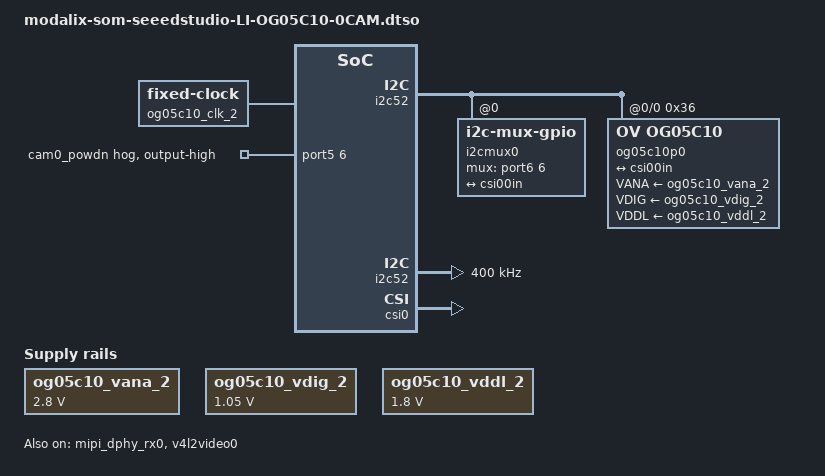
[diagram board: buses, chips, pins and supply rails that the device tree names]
// SPDX-License-Identifier: (GPL-2.0+ OR MIT)
/*
 * Copyright (c) 2026 SiMa ai
 */

/dts-v1/;
/plugin/;

&{/} {
    og05c10_vana_2: csi0_fixedregulator@0 {
        compatible = "regulator-fixed";
        regulator-name = "og05c10_vana_2";
        regulator-min-microvolt = <2800000>;
        regulator-max-microvolt = <2800000>;
        enable-active-high;
        startup-delay-us = <300000>;
        regulator-always-on;
    };

    og05c10_vdig_2: csi0_fixedregulator@1 {
        compatible = "regulator-fixed";
        regulator-name = "og05c10_vdig_2";
        regulator-min-microvolt = <1050000>;
        regulator-max-microvolt = <1050000>;
        regulator-always-on;
    };

    og05c10_vddl_2: csi0_fixedregulator@2 {
        compatible = "regulator-fixed";
        regulator-name = "og05c10_vddl_2";
        regulator-min-microvolt = <1800000>;
        regulator-max-microvolt = <1800000>;
        regulator-always-on;
    };

    og05c10_clk_2: csi0_camera-clk {
        compatible = "fixed-clock";
        #clock-cells = <0>;
        clock-frequency = <24000000>;
    };

    i2cmux0: i2cmux@0 {
        compatible = "i2c-mux-gpio";
        i2c-parent = <&i2c52>;
        #address-cells = <1>;
        #size-cells = <0>;
        /* Set port6 gpio6 to GPIO_ACTIVE_LOW mode */
        mux-gpios = <&port6 6 0>;

        i2cmux0p0: i2c@0 {
            reg = <0>;
            #address-cells = <1>;
            #size-cells = <0>;
        };
    };
};

&port5 {
        cam-hog0 {
                gpio-hog;
                /* Set port5 gpio6 to GPIO_ACTIVE_HIGH mode */
                gpios = <6 0>;
                output-high;
                line-name = "cam0_powdn";
        };
};

&i2c52 {
    status = "okay";
    clock-frequency = <400000>;
    #address-cells = <1>;
    #size-cells = <0>;
};

&csi0 {
    status = "okay";
};

&axi_vdma0 {
    status = "okay";
};

&mipi_dphy_rx0 {
    status = "okay";
};

&v4l2video0 {
    status = "okay";
};

&v4l2vdma0 {
    status = "okay";
};

&csi00in {
    clock-lanes = <0>;
    data-lanes = <1 2>;
    link-frequencies = /bits/ 64 <424000000>;
    remote-endpoint = <&cam00out>;
    clock-continuous;
};

&i2cmux0p0 {
        og05c10p0: og05c10@36 {
                compatible = "OV,og05c10";
                reg = <0x36>;

                clocks = <&og05c10_clk_2>;
                clock-names = "xclk";

                VANA-supply = <&og05c10_vana_2>;
                VDIG-supply = <&og05c10_vdig_2>;
                VDDL-supply = <&og05c10_vddl_2>;

                port@1 {
                        cam00out: endpoint@0 {
                                clock-lanes = <0>;
                                data-lanes = <1 2>;
                                link-frequencies = /bits/ 64 <424000000>;
                                remote-endpoint = <&csi00in>;
                                clock-continuous;
                        };
                };
        };
};
